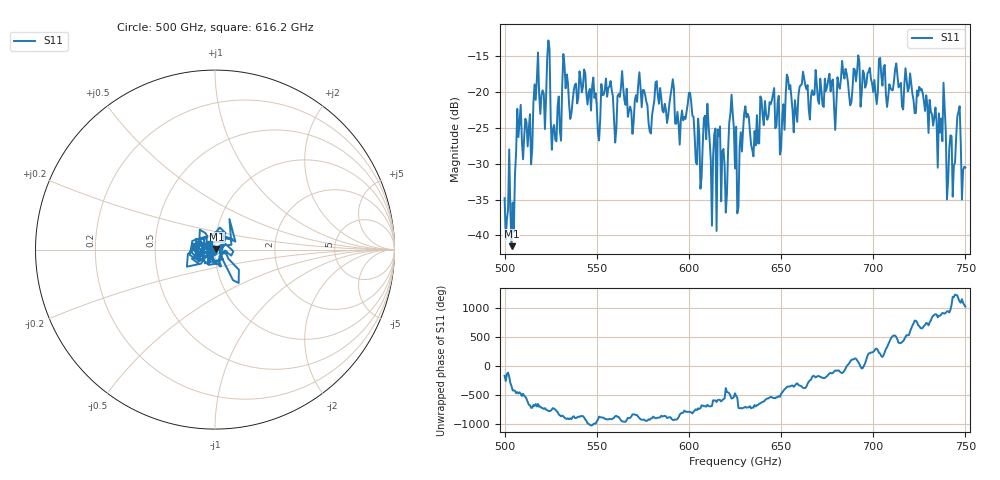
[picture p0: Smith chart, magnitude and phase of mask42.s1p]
!Created with skrf (http://scikit-rf.org).
# GHz S MA R 50.0
!freq magS11 angS11
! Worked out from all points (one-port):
!   401 points, 500 GHz to 750 GHz, reference 50 ohm
!   lowest |S11| = -41.5 dB at 503.8 GHz (marker M1), VSWR 1.02, Z = 50.8 + j0.175 ohm
!   |S11| at or under -10 dB: start of sweep to end of sweep
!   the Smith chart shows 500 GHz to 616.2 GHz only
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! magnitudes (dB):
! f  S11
! 500 GHz  -34.8
! 503.8 GHz  -41.5
! 507.5 GHz  -26.3
! 513.8 GHz  -23.1
! 516.9 GHz  -21.1
! 523.8 GHz  -12.8
! 526.9 GHz  -24.6
! 531.2 GHz  -19.1
! 562.5 GHz  -20.7
! 579.4 GHz  -25.8
! 590.6 GHz  -19.5
! 593.8 GHz  -22.8
! 600.6 GHz  -20.1
! 605.6 GHz  -25.9
! 609.4 GHz  -26.6
! 613.8 GHz  -25.9
! 618.8 GHz  -27.9
! 623.1 GHz  -20.4
! 625 GHz  -30.7
! 627.5 GHz  -27.8
! 631.2 GHz  -23.6
! 656.2 GHz  -22.7
! 687.5 GHz  -21.9
! 718.8 GHz  -19.9
! 738.1 GHz  -18.7
! 740.6 GHz  -32.4
! 746.2 GHz  -22.8
! 750 GHz  -30.5
